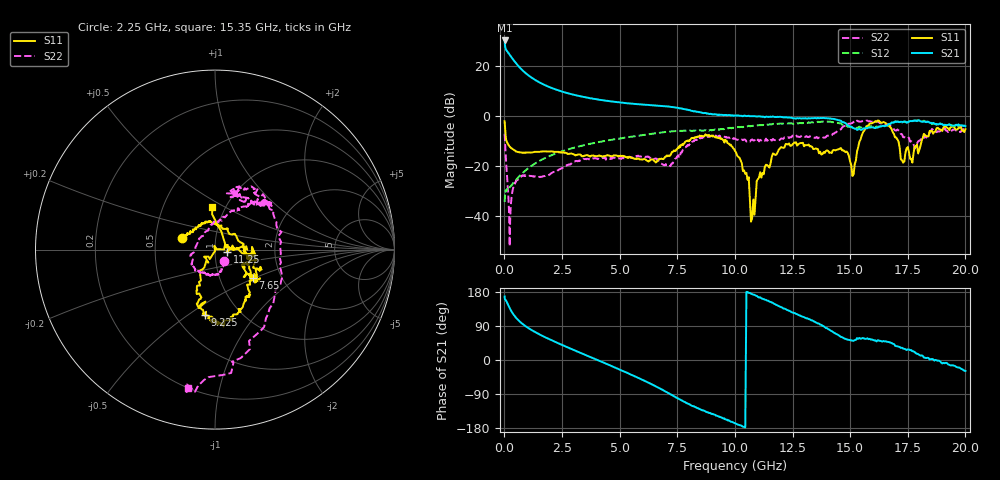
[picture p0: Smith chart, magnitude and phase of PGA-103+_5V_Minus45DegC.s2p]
!Mini-Circuits Laboratory
!S-Parameters, Port extension performed
!Model: PGA-103+
!Run / Lot / Date Code: N/A / BP170-001-01-101EV / 1210
!Fixture: TB-313
!Network Analyzer: PNA-X N5242A - 423 4 ports;  Serial number: 71013
!Date: 5/23/2012 at 10:36:43 AM
!S/N: Unit# 1
!Tested with: VDD=5V AT -45C
# Hz  S  dB  R  50
!Frequency  S11 dB  S11 Deg  S21 dB  S21 Deg  S12 dB  S12 Deg  S22 dB  S22 Deg
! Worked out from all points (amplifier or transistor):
!   660 points, 10 MHz to 20 GHz, reference 50 ohm
!   highest |S21| = 30.2 dB at 10 MHz (marker M1)
!   |S21| within 3 dB of that: start of sweep to 47.25 MHz
!   unconditionally stable (mu >= 1): 131.7 MHz to 11.64 GHz; 11.66 GHz to 12.13 GHz; 19.15 GHz to end of sweep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
!   at 1.275 GHz: K = 1.10, MAG = 15.1 dB, |S12| = -19.3 dB
!   at 6.775 GHz: K = 1.01, MAG = 4.9 dB, |S12| = -6.6 dB
!   at 20 GHz: K = 1.06, MAG = -1.4 dB, |S12| = -4.1 dB
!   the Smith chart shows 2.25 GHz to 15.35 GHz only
!   S11 on the Smith chart (normalised r, x): 2.25 GHz: 0.69, +0.09; 7.65 GHz: 1.43, -0.48; 9.225 GHz: 0.69, -0.58; 11.25 GHz: 1.14, -0.03; 15.35 GHz: 0.87, +0.44
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1e7  -2.12 -22.3  30.17 167.4  -34.25 77.5  -7.11 -28.5
5e7  -7.61 -47.3  27.07 158.3  -29.65 25.4  -14.48 -77.9
7e7  -8.99 -49.4  26.54 157.0  -29.92 23.0  -17.63 -87.3
2.1e8  -11.96 -71.2  24.73 139.4  -28.61 29.3  -42.45 -128.1
2.9e8  -12.75 -86.6  23.70 130.1  -27.83 34.3  -34.27 75.8
3.9e8  -13.40 -102.7  22.42 120.5  -26.69 39.7  -28.54 58.2
6e8  -14.40 -128.3  20.03 105.3  -24.48 45.7  -25.21 34.1
8.4e8  -14.65 -148.5  17.80 92.8  -22.33 48.6  -23.85 20.4
1.15e9  -14.56 -167.0  15.52 80.2  -20.05 48.4  -23.93 3.0
2.25e9  -14.26 160.1  10.52 46.5  -14.87 35.3  -22.03 -50.9
3.35e9  -16.01 142.3  7.76 17.7  -11.90 15.7  -17.59 -78.9
6.675e9  -17.55 40.3  4.13 -72.9  -6.76 -61.7  -17.64 -169.9
7.65e9  -11.63 -36.9  3.07 -105.4  -5.93 -92.1  -14.70 77.4
9.225e9  -8.71 -98.8  0.44 -147.4  -5.56 -134.5  -8.25 40.2
1.005e10  -14.49 -114.6  0.23 -167.9  -4.55 -156.6  -9.23 50.6
1.075e10  -40.63 104.4  -0.07 173.8  -3.94 -175.7  -9.36 57.7
1.125e10  -23.28 -11.2  -0.28 160.7  -3.58 170.4  -9.65 71.4
1.335e10  -12.28 -36.1  -0.83 104.5  -2.46 111.9  -8.54 26.7
1.535e10  -12.44 93.6  -5.31 55.9  -4.55 64.9  -2.10 -101.1
1.67e10  -4.10 36.8  -3.16 47.2  -3.09 47.2  -3.65 -107.4
1.73e10  -18.61 86.3  -2.34 29.9  -2.31 30.4  -8.46 -90.5
2e10  -5.27 100.5  -4.06 -28.8  -4.13 -30.7  -5.06 -17.3
